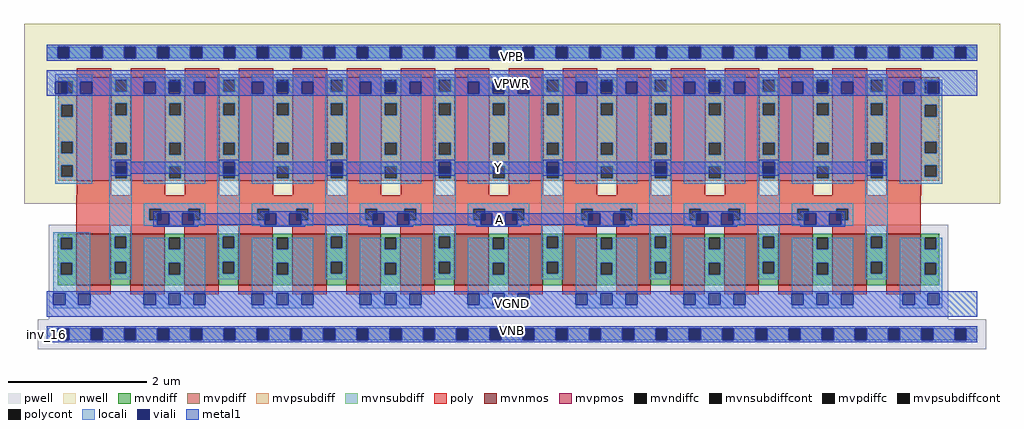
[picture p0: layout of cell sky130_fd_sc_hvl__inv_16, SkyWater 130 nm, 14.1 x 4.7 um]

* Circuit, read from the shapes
.subckt sky130_fd_sc_hvl__inv_16 A VGND VNB VPB VPWR Y
XM1 Y A VGND VNB sky130_fd_pr__nfet_g5v0d10v5 w=0.75 l=0.5 m=16
XM2 Y A VPWR VPB sky130_fd_pr__pfet_g5v0d10v5 w=1.5 l=0.5 m=16
.ends

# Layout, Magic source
magic
tech sky130B
magscale 1 2
<< nwell >>
rect -66 377 2754 897
<< pwell >>
rect 6 43 2605 317
rect -26 -43 2714 43
<< mvnmos >>
rect 85 141 185 291
rect 241 141 341 291
rect 397 141 497 291
rect 553 141 653 291
rect 709 141 809 291
rect 865 141 965 291
rect 1021 141 1121 291
rect 1177 141 1277 291
rect 1333 141 1433 291
rect 1489 141 1589 291
rect 1645 141 1745 291
rect 1801 141 1901 291
rect 1957 141 2057 291
rect 2113 141 2213 291
rect 2269 141 2369 291
rect 2425 141 2525 291
<< mvpmos >>
rect 86 443 186 743
rect 242 443 342 743
rect 398 443 498 743
rect 554 443 654 743
rect 710 443 810 743
rect 866 443 966 743
rect 1022 443 1122 743
rect 1178 443 1278 743
rect 1334 443 1434 743
rect 1490 443 1590 743
rect 1646 443 1746 743
rect 1802 443 1902 743
rect 1958 443 2058 743
rect 2114 443 2214 743
rect 2270 443 2370 743
rect 2426 443 2526 743
<< mvndiff >>
rect 32 279 85 291
rect 32 245 40 279
rect 74 245 85 279
rect 32 206 85 245
rect 32 172 40 206
rect 74 172 85 206
rect 32 141 85 172
rect 185 283 241 291
rect 185 249 196 283
rect 230 249 241 283
rect 185 209 241 249
rect 185 175 196 209
rect 230 175 241 209
rect 185 141 241 175
rect 341 279 397 291
rect 341 245 352 279
rect 386 245 397 279
rect 341 206 397 245
rect 341 172 352 206
rect 386 172 397 206
rect 341 141 397 172
rect 497 283 553 291
rect 497 249 508 283
rect 542 249 553 283
rect 497 209 553 249
rect 497 175 508 209
rect 542 175 553 209
rect 497 141 553 175
rect 653 279 709 291
rect 653 245 664 279
rect 698 245 709 279
rect 653 206 709 245
rect 653 172 664 206
rect 698 172 709 206
rect 653 141 709 172
rect 809 283 865 291
rect 809 249 820 283
rect 854 249 865 283
rect 809 209 865 249
rect 809 175 820 209
rect 854 175 865 209
rect 809 141 865 175
rect 965 279 1021 291
rect 965 245 976 279
rect 1010 245 1021 279
rect 965 206 1021 245
rect 965 172 976 206
rect 1010 172 1021 206
rect 965 141 1021 172
rect 1121 283 1177 291
rect 1121 249 1132 283
rect 1166 249 1177 283
rect 1121 209 1177 249
rect 1121 175 1132 209
rect 1166 175 1177 209
rect 1121 141 1177 175
rect 1277 279 1333 291
rect 1277 245 1288 279
rect 1322 245 1333 279
rect 1277 206 1333 245
rect 1277 172 1288 206
rect 1322 172 1333 206
rect 1277 141 1333 172
rect 1433 283 1489 291
rect 1433 249 1444 283
rect 1478 249 1489 283
rect 1433 209 1489 249
rect 1433 175 1444 209
rect 1478 175 1489 209
rect 1433 141 1489 175
rect 1589 279 1645 291
rect 1589 245 1600 279
rect 1634 245 1645 279
rect 1589 206 1645 245
rect 1589 172 1600 206
rect 1634 172 1645 206
rect 1589 141 1645 172
rect 1745 283 1801 291
rect 1745 249 1756 283
rect 1790 249 1801 283
rect 1745 209 1801 249
rect 1745 175 1756 209
rect 1790 175 1801 209
rect 1745 141 1801 175
rect 1901 279 1957 291
rect 1901 245 1912 279
rect 1946 245 1957 279
rect 1901 206 1957 245
rect 1901 172 1912 206
rect 1946 172 1957 206
rect 1901 141 1957 172
rect 2057 283 2113 291
rect 2057 249 2068 283
rect 2102 249 2113 283
rect 2057 209 2113 249
rect 2057 175 2068 209
rect 2102 175 2113 209
rect 2057 141 2113 175
rect 2213 279 2269 291
rect 2213 245 2224 279
rect 2258 245 2269 279
rect 2213 206 2269 245
rect 2213 172 2224 206
rect 2258 172 2269 206
rect 2213 141 2269 172
rect 2369 283 2425 291
rect 2369 249 2380 283
rect 2414 249 2425 283
rect 2369 209 2425 249
rect 2369 175 2380 209
rect 2414 175 2425 209
rect 2369 141 2425 175
rect 2525 279 2579 291
rect 2525 245 2536 279
rect 2570 245 2579 279
rect 2525 206 2579 245
rect 2525 172 2536 206
rect 2570 172 2579 206
rect 2525 141 2579 172
<< mvpdiff >>
rect 33 731 86 743
rect 33 697 41 731
rect 75 697 86 731
rect 33 663 86 697
rect 33 629 41 663
rect 75 629 86 663
rect 33 557 86 629
rect 33 523 41 557
rect 75 523 86 557
rect 33 489 86 523
rect 33 455 41 489
rect 75 455 86 489
rect 33 443 86 455
rect 186 735 242 743
rect 186 701 197 735
rect 231 701 242 735
rect 186 667 242 701
rect 186 633 197 667
rect 231 633 242 667
rect 186 553 242 633
rect 186 519 197 553
rect 231 519 242 553
rect 186 485 242 519
rect 186 451 197 485
rect 231 451 242 485
rect 186 443 242 451
rect 342 735 398 743
rect 342 701 353 735
rect 387 701 398 735
rect 342 667 398 701
rect 342 633 353 667
rect 387 633 398 667
rect 342 553 398 633
rect 342 519 353 553
rect 387 519 398 553
rect 342 485 398 519
rect 342 451 353 485
rect 387 451 398 485
rect 342 443 398 451
rect 498 735 554 743
rect 498 701 509 735
rect 543 701 554 735
rect 498 667 554 701
rect 498 633 509 667
rect 543 633 554 667
rect 498 553 554 633
rect 498 519 509 553
rect 543 519 554 553
rect 498 485 554 519
rect 498 451 509 485
rect 543 451 554 485
rect 498 443 554 451
rect 654 735 710 743
rect 654 701 665 735
rect 699 701 710 735
rect 654 667 710 701
rect 654 633 665 667
rect 699 633 710 667
rect 654 553 710 633
rect 654 519 665 553
rect 699 519 710 553
rect 654 485 710 519
rect 654 451 665 485
rect 699 451 710 485
rect 654 443 710 451
rect 810 735 866 743
rect 810 701 821 735
rect 855 701 866 735
rect 810 667 866 701
rect 810 633 821 667
rect 855 633 866 667
rect 810 553 866 633
rect 810 519 821 553
rect 855 519 866 553
rect 810 485 866 519
rect 810 451 821 485
rect 855 451 866 485
rect 810 443 866 451
rect 966 735 1022 743
rect 966 701 977 735
rect 1011 701 1022 735
rect 966 667 1022 701
rect 966 633 977 667
rect 1011 633 1022 667
rect 966 553 1022 633
rect 966 519 977 553
rect 1011 519 1022 553
rect 966 485 1022 519
rect 966 451 977 485
rect 1011 451 1022 485
rect 966 443 1022 451
rect 1122 735 1178 743
rect 1122 701 1133 735
rect 1167 701 1178 735
rect 1122 667 1178 701
rect 1122 633 1133 667
rect 1167 633 1178 667
rect 1122 553 1178 633
rect 1122 519 1133 553
rect 1167 519 1178 553
rect 1122 485 1178 519
rect 1122 451 1133 485
rect 1167 451 1178 485
rect 1122 443 1178 451
rect 1278 735 1334 743
rect 1278 701 1289 735
rect 1323 701 1334 735
rect 1278 667 1334 701
rect 1278 633 1289 667
rect 1323 633 1334 667
rect 1278 553 1334 633
rect 1278 519 1289 553
rect 1323 519 1334 553
rect 1278 485 1334 519
rect 1278 451 1289 485
rect 1323 451 1334 485
rect 1278 443 1334 451
rect 1434 735 1490 743
rect 1434 701 1445 735
rect 1479 701 1490 735
rect 1434 667 1490 701
rect 1434 633 1445 667
rect 1479 633 1490 667
rect 1434 553 1490 633
rect 1434 519 1445 553
rect 1479 519 1490 553
rect 1434 485 1490 519
rect 1434 451 1445 485
rect 1479 451 1490 485
rect 1434 443 1490 451
rect 1590 735 1646 743
rect 1590 701 1601 735
rect 1635 701 1646 735
rect 1590 667 1646 701
rect 1590 633 1601 667
rect 1635 633 1646 667
rect 1590 553 1646 633
rect 1590 519 1601 553
rect 1635 519 1646 553
rect 1590 485 1646 519
rect 1590 451 1601 485
rect 1635 451 1646 485
rect 1590 443 1646 451
rect 1746 735 1802 743
rect 1746 701 1757 735
rect 1791 701 1802 735
rect 1746 667 1802 701
rect 1746 633 1757 667
rect 1791 633 1802 667
rect 1746 553 1802 633
rect 1746 519 1757 553
rect 1791 519 1802 553
rect 1746 485 1802 519
rect 1746 451 1757 485
rect 1791 451 1802 485
rect 1746 443 1802 451
rect 1902 735 1958 743
rect 1902 701 1913 735
rect 1947 701 1958 735
rect 1902 667 1958 701
rect 1902 633 1913 667
rect 1947 633 1958 667
rect 1902 553 1958 633
rect 1902 519 1913 553
rect 1947 519 1958 553
rect 1902 485 1958 519
rect 1902 451 1913 485
rect 1947 451 1958 485
rect 1902 443 1958 451
rect 2058 735 2114 743
rect 2058 701 2069 735
rect 2103 701 2114 735
rect 2058 667 2114 701
rect 2058 633 2069 667
rect 2103 633 2114 667
rect 2058 553 2114 633
rect 2058 519 2069 553
rect 2103 519 2114 553
rect 2058 485 2114 519
rect 2058 451 2069 485
rect 2103 451 2114 485
rect 2058 443 2114 451
rect 2214 735 2270 743
rect 2214 701 2225 735
rect 2259 701 2270 735
rect 2214 667 2270 701
rect 2214 633 2225 667
rect 2259 633 2270 667
rect 2214 553 2270 633
rect 2214 519 2225 553
rect 2259 519 2270 553
rect 2214 485 2270 519
rect 2214 451 2225 485
rect 2259 451 2270 485
rect 2214 443 2270 451
rect 2370 735 2426 743
rect 2370 701 2381 735
rect 2415 701 2426 735
rect 2370 667 2426 701
rect 2370 633 2381 667
rect 2415 633 2426 667
rect 2370 553 2426 633
rect 2370 519 2381 553
rect 2415 519 2426 553
rect 2370 485 2426 519
rect 2370 451 2381 485
rect 2415 451 2426 485
rect 2370 443 2426 451
rect 2526 731 2579 743
rect 2526 697 2537 731
rect 2571 697 2579 731
rect 2526 663 2579 697
rect 2526 629 2537 663
rect 2571 629 2579 663
rect 2526 557 2579 629
rect 2526 523 2537 557
rect 2571 523 2579 557
rect 2526 489 2579 523
rect 2526 455 2537 489
rect 2571 455 2579 489
rect 2526 443 2579 455
<< mvndiffc >>
rect 40 245 74 279
rect 40 172 74 206
rect 196 249 230 283
rect 196 175 230 209
rect 352 245 386 279
rect 352 172 386 206
rect 508 249 542 283
rect 508 175 542 209
rect 664 245 698 279
rect 664 172 698 206
rect 820 249 854 283
rect 820 175 854 209
rect 976 245 1010 279
rect 976 172 1010 206
rect 1132 249 1166 283
rect 1132 175 1166 209
rect 1288 245 1322 279
rect 1288 172 1322 206
rect 1444 249 1478 283
rect 1444 175 1478 209
rect 1600 245 1634 279
rect 1600 172 1634 206
rect 1756 249 1790 283
rect 1756 175 1790 209
rect 1912 245 1946 279
rect 1912 172 1946 206
rect 2068 249 2102 283
rect 2068 175 2102 209
rect 2224 245 2258 279
rect 2224 172 2258 206
rect 2380 249 2414 283
rect 2380 175 2414 209
rect 2536 245 2570 279
rect 2536 172 2570 206
<< mvpdiffc >>
rect 41 697 75 731
rect 41 629 75 663
rect 41 523 75 557
rect 41 455 75 489
rect 197 701 231 735
rect 197 633 231 667
rect 197 519 231 553
rect 197 451 231 485
rect 353 701 387 735
rect 353 633 387 667
rect 353 519 387 553
rect 353 451 387 485
rect 509 701 543 735
rect 509 633 543 667
rect 509 519 543 553
rect 509 451 543 485
rect 665 701 699 735
rect 665 633 699 667
rect 665 519 699 553
rect 665 451 699 485
rect 821 701 855 735
rect 821 633 855 667
rect 821 519 855 553
rect 821 451 855 485
rect 977 701 1011 735
rect 977 633 1011 667
rect 977 519 1011 553
rect 977 451 1011 485
rect 1133 701 1167 735
rect 1133 633 1167 667
rect 1133 519 1167 553
rect 1133 451 1167 485
rect 1289 701 1323 735
rect 1289 633 1323 667
rect 1289 519 1323 553
rect 1289 451 1323 485
rect 1445 701 1479 735
rect 1445 633 1479 667
rect 1445 519 1479 553
rect 1445 451 1479 485
rect 1601 701 1635 735
rect 1601 633 1635 667
rect 1601 519 1635 553
rect 1601 451 1635 485
rect 1757 701 1791 735
rect 1757 633 1791 667
rect 1757 519 1791 553
rect 1757 451 1791 485
rect 1913 701 1947 735
rect 1913 633 1947 667
rect 1913 519 1947 553
rect 1913 451 1947 485
rect 2069 701 2103 735
rect 2069 633 2103 667
rect 2069 519 2103 553
rect 2069 451 2103 485
rect 2225 701 2259 735
rect 2225 633 2259 667
rect 2225 519 2259 553
rect 2225 451 2259 485
rect 2381 701 2415 735
rect 2381 633 2415 667
rect 2381 519 2415 553
rect 2381 451 2415 485
rect 2537 697 2571 731
rect 2537 629 2571 663
rect 2537 523 2571 557
rect 2537 455 2571 489
<< mvpsubdiff >>
rect 0 -17 31 17
rect 65 -17 127 17
rect 161 -17 223 17
rect 257 -17 319 17
rect 353 -17 415 17
rect 449 -17 511 17
rect 545 -17 607 17
rect 641 -17 703 17
rect 737 -17 799 17
rect 833 -17 895 17
rect 929 -17 991 17
rect 1025 -17 1087 17
rect 1121 -17 1183 17
rect 1217 -17 1279 17
rect 1313 -17 1375 17
rect 1409 -17 1471 17
rect 1505 -17 1567 17
rect 1601 -17 1663 17
rect 1697 -17 1759 17
rect 1793 -17 1855 17
rect 1889 -17 1951 17
rect 1985 -17 2047 17
rect 2081 -17 2143 17
rect 2177 -17 2239 17
rect 2273 -17 2335 17
rect 2369 -17 2431 17
rect 2465 -17 2527 17
rect 2561 -17 2623 17
rect 2657 -17 2688 17
<< mvnsubdiff >>
rect 0 797 31 831
rect 65 797 127 831
rect 161 797 223 831
rect 257 797 319 831
rect 353 797 415 831
rect 449 797 511 831
rect 545 797 607 831
rect 641 797 703 831
rect 737 797 799 831
rect 833 797 895 831
rect 929 797 991 831
rect 1025 797 1087 831
rect 1121 797 1183 831
rect 1217 797 1279 831
rect 1313 797 1375 831
rect 1409 797 1471 831
rect 1505 797 1567 831
rect 1601 797 1663 831
rect 1697 797 1759 831
rect 1793 797 1855 831
rect 1889 797 1951 831
rect 1985 797 2047 831
rect 2081 797 2143 831
rect 2177 797 2239 831
rect 2273 797 2335 831
rect 2369 797 2431 831
rect 2465 797 2527 831
rect 2561 797 2623 831
rect 2657 797 2688 831
<< mvpsubdiffcont >>
rect 31 -17 65 17
rect 127 -17 161 17
rect 223 -17 257 17
rect 319 -17 353 17
rect 415 -17 449 17
rect 511 -17 545 17
rect 607 -17 641 17
rect 703 -17 737 17
rect 799 -17 833 17
rect 895 -17 929 17
rect 991 -17 1025 17
rect 1087 -17 1121 17
rect 1183 -17 1217 17
rect 1279 -17 1313 17
rect 1375 -17 1409 17
rect 1471 -17 1505 17
rect 1567 -17 1601 17
rect 1663 -17 1697 17
rect 1759 -17 1793 17
rect 1855 -17 1889 17
rect 1951 -17 1985 17
rect 2047 -17 2081 17
rect 2143 -17 2177 17
rect 2239 -17 2273 17
rect 2335 -17 2369 17
rect 2431 -17 2465 17
rect 2527 -17 2561 17
rect 2623 -17 2657 17
<< mvnsubdiffcont >>
rect 31 797 65 831
rect 127 797 161 831
rect 223 797 257 831
rect 319 797 353 831
rect 415 797 449 831
rect 511 797 545 831
rect 607 797 641 831
rect 703 797 737 831
rect 799 797 833 831
rect 895 797 929 831
rect 991 797 1025 831
rect 1087 797 1121 831
rect 1183 797 1217 831
rect 1279 797 1313 831
rect 1375 797 1409 831
rect 1471 797 1505 831
rect 1567 797 1601 831
rect 1663 797 1697 831
rect 1759 797 1793 831
rect 1855 797 1889 831
rect 1951 797 1985 831
rect 2047 797 2081 831
rect 2143 797 2177 831
rect 2239 797 2273 831
rect 2335 797 2369 831
rect 2431 797 2465 831
rect 2527 797 2561 831
rect 2623 797 2657 831
<< poly >>
rect 86 743 186 769
rect 242 743 342 769
rect 398 743 498 769
rect 554 743 654 769
rect 710 743 810 769
rect 866 743 966 769
rect 1022 743 1122 769
rect 1178 743 1278 769
rect 1334 743 1434 769
rect 1490 743 1590 769
rect 1646 743 1746 769
rect 1802 743 1902 769
rect 1958 743 2058 769
rect 2114 743 2214 769
rect 2270 743 2370 769
rect 2426 743 2526 769
rect 86 401 186 443
rect 242 401 342 443
rect 398 401 498 443
rect 554 401 654 443
rect 710 401 810 443
rect 866 401 966 443
rect 1022 401 1122 443
rect 1178 401 1278 443
rect 1334 401 1434 443
rect 1490 401 1590 443
rect 1646 401 1746 443
rect 1802 401 1902 443
rect 1958 401 2058 443
rect 2114 401 2214 443
rect 2270 401 2370 443
rect 2426 401 2526 443
rect 85 400 2526 401
rect 85 363 2525 400
rect 85 329 296 363
rect 330 329 409 363
rect 443 329 608 363
rect 642 329 721 363
rect 755 329 920 363
rect 954 329 1033 363
rect 1067 329 1232 363
rect 1266 329 1345 363
rect 1379 329 1544 363
rect 1578 329 1657 363
rect 1691 329 1856 363
rect 1890 329 1969 363
rect 2003 329 2168 363
rect 2202 329 2281 363
rect 2315 329 2525 363
rect 85 313 2525 329
rect 85 291 185 313
rect 241 291 341 313
rect 397 291 497 313
rect 553 291 653 313
rect 709 291 809 313
rect 865 291 965 313
rect 1021 291 1121 313
rect 1177 291 1277 313
rect 1333 291 1433 313
rect 1489 291 1589 313
rect 1645 291 1745 313
rect 1801 291 1901 313
rect 1957 291 2057 313
rect 2113 291 2213 313
rect 2269 291 2369 313
rect 2425 291 2525 313
rect 85 115 185 141
rect 241 115 341 141
rect 397 115 497 141
rect 553 115 653 141
rect 709 115 809 141
rect 865 115 965 141
rect 1021 115 1121 141
rect 1177 115 1277 141
rect 1333 115 1433 141
rect 1489 115 1589 141
rect 1645 115 1745 141
rect 1801 115 1901 141
rect 1957 115 2057 141
rect 2113 115 2213 141
rect 2269 115 2369 141
rect 2425 115 2525 141
<< polycont >>
rect 296 329 330 363
rect 409 329 443 363
rect 608 329 642 363
rect 721 329 755 363
rect 920 329 954 363
rect 1033 329 1067 363
rect 1232 329 1266 363
rect 1345 329 1379 363
rect 1544 329 1578 363
rect 1657 329 1691 363
rect 1856 329 1890 363
rect 1969 329 2003 363
rect 2168 329 2202 363
rect 2281 329 2315 363
<< locali >>
rect 0 797 31 831
rect 65 797 127 831
rect 161 797 223 831
rect 257 797 319 831
rect 353 797 415 831
rect 449 797 511 831
rect 545 797 607 831
rect 641 797 703 831
rect 737 797 799 831
rect 833 797 895 831
rect 929 797 991 831
rect 1025 797 1087 831
rect 1121 797 1183 831
rect 1217 797 1279 831
rect 1313 797 1375 831
rect 1409 797 1471 831
rect 1505 797 1567 831
rect 1601 797 1663 831
rect 1697 797 1759 831
rect 1793 797 1855 831
rect 1889 797 1951 831
rect 1985 797 2047 831
rect 2081 797 2143 831
rect 2177 797 2239 831
rect 2273 797 2335 831
rect 2369 797 2431 831
rect 2465 797 2527 831
rect 2561 797 2623 831
rect 2657 797 2688 831
rect 25 731 131 751
rect 25 729 41 731
rect 75 729 131 731
rect 75 697 97 729
rect 59 695 97 697
rect 25 663 131 695
rect 25 629 41 663
rect 75 629 131 663
rect 25 557 131 629
rect 25 523 41 557
rect 75 523 131 557
rect 25 489 131 523
rect 25 455 41 489
rect 75 455 131 489
rect 25 435 131 455
rect 180 735 246 751
rect 180 701 197 735
rect 231 701 246 735
rect 180 667 246 701
rect 180 633 197 667
rect 231 633 246 667
rect 180 553 246 633
rect 180 519 197 553
rect 231 519 246 553
rect 180 498 246 519
rect 180 451 197 498
rect 231 451 246 498
rect 19 279 126 295
rect 19 245 40 279
rect 74 245 126 279
rect 19 206 126 245
rect 19 172 40 206
rect 74 172 126 206
rect 19 119 126 172
rect 180 283 246 451
rect 280 735 458 751
rect 280 729 353 735
rect 387 729 458 735
rect 314 695 352 729
rect 387 701 424 729
rect 386 695 424 701
rect 280 667 458 695
rect 280 633 353 667
rect 387 633 458 667
rect 280 553 458 633
rect 280 519 353 553
rect 387 519 458 553
rect 280 485 458 519
rect 280 451 353 485
rect 387 451 458 485
rect 280 435 458 451
rect 492 735 558 751
rect 492 701 509 735
rect 543 701 558 735
rect 492 667 558 701
rect 492 633 509 667
rect 543 633 558 667
rect 492 553 558 633
rect 492 519 509 553
rect 543 519 558 553
rect 492 498 558 519
rect 492 451 509 498
rect 543 451 558 498
rect 280 363 458 379
rect 280 329 296 363
rect 330 350 409 363
rect 280 316 319 329
rect 353 316 391 350
rect 443 329 458 363
rect 425 316 458 329
rect 280 313 458 316
rect 180 249 196 283
rect 230 249 246 283
rect 492 283 558 451
rect 592 735 770 751
rect 592 729 665 735
rect 699 729 770 735
rect 626 695 664 729
rect 699 701 736 729
rect 698 695 736 701
rect 592 667 770 695
rect 592 633 665 667
rect 699 633 770 667
rect 592 553 770 633
rect 592 519 665 553
rect 699 519 770 553
rect 592 485 770 519
rect 592 451 665 485
rect 699 451 770 485
rect 592 435 770 451
rect 804 735 870 751
rect 804 701 821 735
rect 855 701 870 735
rect 804 667 870 701
rect 804 633 821 667
rect 855 633 870 667
rect 804 553 870 633
rect 804 519 821 553
rect 855 519 870 553
rect 804 498 870 519
rect 804 451 821 498
rect 855 451 870 498
rect 592 363 770 379
rect 592 329 608 363
rect 642 350 721 363
rect 592 316 629 329
rect 663 316 701 350
rect 755 329 770 363
rect 735 316 770 329
rect 592 313 770 316
rect 180 209 246 249
rect 180 175 196 209
rect 230 175 246 209
rect 180 159 246 175
rect 280 245 352 279
rect 386 245 458 279
rect 280 206 458 245
rect 280 172 352 206
rect 386 172 458 206
rect 53 85 91 119
rect 125 85 126 119
rect 19 75 126 85
rect 280 119 458 172
rect 492 249 508 283
rect 542 249 558 283
rect 804 283 870 451
rect 904 735 1082 751
rect 904 729 977 735
rect 1011 729 1082 735
rect 938 695 976 729
rect 1011 701 1048 729
rect 1010 695 1048 701
rect 904 667 1082 695
rect 904 633 977 667
rect 1011 633 1082 667
rect 904 553 1082 633
rect 904 519 977 553
rect 1011 519 1082 553
rect 904 485 1082 519
rect 904 451 977 485
rect 1011 451 1082 485
rect 904 435 1082 451
rect 1116 735 1182 751
rect 1116 701 1133 735
rect 1167 701 1182 735
rect 1116 667 1182 701
rect 1116 633 1133 667
rect 1167 633 1182 667
rect 1116 553 1182 633
rect 1116 519 1133 553
rect 1167 519 1182 553
rect 1116 498 1182 519
rect 1116 451 1133 498
rect 1167 451 1182 498
rect 904 363 1082 379
rect 904 329 920 363
rect 954 350 1033 363
rect 904 316 941 329
rect 975 316 1013 350
rect 1067 329 1082 363
rect 1047 316 1082 329
rect 904 313 1082 316
rect 492 209 558 249
rect 492 175 508 209
rect 542 175 558 209
rect 492 159 558 175
rect 592 245 664 279
rect 698 245 770 279
rect 592 206 770 245
rect 592 172 664 206
rect 698 172 770 206
rect 314 85 352 119
rect 386 85 424 119
rect 280 75 458 85
rect 592 119 770 172
rect 804 249 820 283
rect 854 249 870 283
rect 1116 283 1182 451
rect 1216 735 1394 751
rect 1216 729 1289 735
rect 1323 729 1394 735
rect 1250 695 1288 729
rect 1323 701 1360 729
rect 1322 695 1360 701
rect 1216 667 1394 695
rect 1216 633 1289 667
rect 1323 633 1394 667
rect 1216 553 1394 633
rect 1216 519 1289 553
rect 1323 519 1394 553
rect 1216 485 1394 519
rect 1216 451 1289 485
rect 1323 451 1394 485
rect 1216 435 1394 451
rect 1428 735 1494 751
rect 1428 701 1445 735
rect 1479 701 1494 735
rect 1428 667 1494 701
rect 1428 633 1445 667
rect 1479 633 1494 667
rect 1428 553 1494 633
rect 1428 519 1445 553
rect 1479 519 1494 553
rect 1428 498 1494 519
rect 1428 451 1445 498
rect 1479 451 1494 498
rect 1216 363 1394 379
rect 1216 329 1232 363
rect 1266 350 1345 363
rect 1216 316 1253 329
rect 1287 316 1325 350
rect 1379 329 1394 363
rect 1359 316 1394 329
rect 1216 313 1394 316
rect 804 209 870 249
rect 804 175 820 209
rect 854 175 870 209
rect 804 159 870 175
rect 904 245 976 279
rect 1010 245 1082 279
rect 904 206 1082 245
rect 904 172 976 206
rect 1010 172 1082 206
rect 626 85 664 119
rect 698 85 736 119
rect 592 75 770 85
rect 904 119 1082 172
rect 1116 249 1132 283
rect 1166 249 1182 283
rect 1428 283 1494 451
rect 1528 735 1706 751
rect 1528 729 1601 735
rect 1635 729 1706 735
rect 1562 695 1600 729
rect 1635 701 1672 729
rect 1634 695 1672 701
rect 1528 667 1706 695
rect 1528 633 1601 667
rect 1635 633 1706 667
rect 1528 553 1706 633
rect 1528 519 1601 553
rect 1635 519 1706 553
rect 1528 485 1706 519
rect 1528 451 1601 485
rect 1635 451 1706 485
rect 1528 435 1706 451
rect 1740 735 1806 751
rect 1740 701 1757 735
rect 1791 701 1806 735
rect 1740 667 1806 701
rect 1740 633 1757 667
rect 1791 633 1806 667
rect 1740 553 1806 633
rect 1740 519 1757 553
rect 1791 519 1806 553
rect 1740 498 1806 519
rect 1740 451 1757 498
rect 1791 451 1806 498
rect 1528 363 1706 379
rect 1528 329 1544 363
rect 1578 350 1657 363
rect 1528 316 1565 329
rect 1599 316 1637 350
rect 1691 329 1706 363
rect 1671 316 1706 329
rect 1528 313 1706 316
rect 1116 209 1182 249
rect 1116 175 1132 209
rect 1166 175 1182 209
rect 1116 159 1182 175
rect 1216 245 1288 279
rect 1322 245 1394 279
rect 1216 206 1394 245
rect 1216 172 1288 206
rect 1322 172 1394 206
rect 938 85 976 119
rect 1010 85 1048 119
rect 904 75 1082 85
rect 1216 119 1394 172
rect 1428 249 1444 283
rect 1478 249 1494 283
rect 1740 283 1806 451
rect 1840 735 2018 751
rect 1840 729 1913 735
rect 1947 729 2018 735
rect 1874 695 1912 729
rect 1947 701 1984 729
rect 1946 695 1984 701
rect 1840 667 2018 695
rect 1840 633 1913 667
rect 1947 633 2018 667
rect 1840 553 2018 633
rect 1840 519 1913 553
rect 1947 519 2018 553
rect 1840 485 2018 519
rect 1840 451 1913 485
rect 1947 451 2018 485
rect 1840 435 2018 451
rect 2052 735 2118 751
rect 2052 701 2069 735
rect 2103 701 2118 735
rect 2052 667 2118 701
rect 2052 633 2069 667
rect 2103 633 2118 667
rect 2052 553 2118 633
rect 2052 519 2069 553
rect 2103 519 2118 553
rect 2052 498 2118 519
rect 2052 451 2069 498
rect 2103 451 2118 498
rect 1840 363 2018 379
rect 1840 329 1856 363
rect 1890 350 1969 363
rect 1840 316 1877 329
rect 1911 316 1949 350
rect 2003 329 2018 363
rect 1983 316 2018 329
rect 1840 313 2018 316
rect 1428 209 1494 249
rect 1428 175 1444 209
rect 1478 175 1494 209
rect 1428 159 1494 175
rect 1528 245 1600 279
rect 1634 245 1706 279
rect 1528 206 1706 245
rect 1528 172 1600 206
rect 1634 172 1706 206
rect 1250 85 1288 119
rect 1322 85 1360 119
rect 1216 75 1394 85
rect 1528 119 1706 172
rect 1740 249 1756 283
rect 1790 249 1806 283
rect 2052 283 2118 451
rect 2152 735 2330 751
rect 2152 729 2225 735
rect 2259 729 2330 735
rect 2186 695 2224 729
rect 2259 701 2296 729
rect 2258 695 2296 701
rect 2152 667 2330 695
rect 2152 633 2225 667
rect 2259 633 2330 667
rect 2152 553 2330 633
rect 2152 519 2225 553
rect 2259 519 2330 553
rect 2152 485 2330 519
rect 2152 451 2225 485
rect 2259 451 2330 485
rect 2152 435 2330 451
rect 2364 735 2430 751
rect 2364 701 2381 735
rect 2415 701 2430 735
rect 2364 667 2430 701
rect 2364 633 2381 667
rect 2415 633 2430 667
rect 2364 553 2430 633
rect 2364 519 2381 553
rect 2415 519 2430 553
rect 2364 498 2430 519
rect 2364 451 2381 498
rect 2415 451 2430 498
rect 2152 363 2330 379
rect 2152 329 2168 363
rect 2202 350 2281 363
rect 2152 316 2189 329
rect 2223 316 2261 350
rect 2315 329 2330 363
rect 2295 316 2330 329
rect 2152 313 2330 316
rect 1740 209 1806 249
rect 1740 175 1756 209
rect 1790 175 1806 209
rect 1740 159 1806 175
rect 1840 245 1912 279
rect 1946 245 2018 279
rect 1840 206 2018 245
rect 1840 172 1912 206
rect 1946 172 2018 206
rect 1562 85 1600 119
rect 1634 85 1672 119
rect 1528 75 1706 85
rect 1840 119 2018 172
rect 2052 249 2068 283
rect 2102 249 2118 283
rect 2364 283 2430 451
rect 2464 731 2587 735
rect 2464 729 2537 731
rect 2571 729 2587 731
rect 2464 695 2473 729
rect 2507 697 2537 729
rect 2507 695 2545 697
rect 2579 695 2587 729
rect 2464 663 2587 695
rect 2464 629 2537 663
rect 2571 629 2587 663
rect 2464 557 2587 629
rect 2464 523 2537 557
rect 2571 523 2587 557
rect 2464 489 2587 523
rect 2464 455 2537 489
rect 2571 455 2587 489
rect 2464 435 2587 455
rect 2052 209 2118 249
rect 2052 175 2068 209
rect 2102 175 2118 209
rect 2052 159 2118 175
rect 2152 245 2224 279
rect 2258 245 2330 279
rect 2152 206 2330 245
rect 2152 172 2224 206
rect 2258 172 2330 206
rect 1874 85 1912 119
rect 1946 85 1984 119
rect 1840 75 2018 85
rect 2152 119 2330 172
rect 2364 249 2380 283
rect 2414 249 2430 283
rect 2364 209 2430 249
rect 2364 175 2380 209
rect 2414 175 2430 209
rect 2364 159 2430 175
rect 2464 245 2536 279
rect 2570 245 2587 279
rect 2464 206 2587 245
rect 2464 172 2536 206
rect 2570 172 2587 206
rect 2186 85 2224 119
rect 2258 85 2296 119
rect 2152 75 2330 85
rect 2464 119 2587 172
rect 2464 85 2473 119
rect 2507 85 2545 119
rect 2579 85 2587 119
rect 2464 75 2587 85
rect 0 -17 31 17
rect 65 -17 127 17
rect 161 -17 223 17
rect 257 -17 319 17
rect 353 -17 415 17
rect 449 -17 511 17
rect 545 -17 607 17
rect 641 -17 703 17
rect 737 -17 799 17
rect 833 -17 895 17
rect 929 -17 991 17
rect 1025 -17 1087 17
rect 1121 -17 1183 17
rect 1217 -17 1279 17
rect 1313 -17 1375 17
rect 1409 -17 1471 17
rect 1505 -17 1567 17
rect 1601 -17 1663 17
rect 1697 -17 1759 17
rect 1793 -17 1855 17
rect 1889 -17 1951 17
rect 1985 -17 2047 17
rect 2081 -17 2143 17
rect 2177 -17 2239 17
rect 2273 -17 2335 17
rect 2369 -17 2431 17
rect 2465 -17 2527 17
rect 2561 -17 2623 17
rect 2657 -17 2688 17
<< viali >>
rect 31 797 65 831
rect 127 797 161 831
rect 223 797 257 831
rect 319 797 353 831
rect 415 797 449 831
rect 511 797 545 831
rect 607 797 641 831
rect 703 797 737 831
rect 799 797 833 831
rect 895 797 929 831
rect 991 797 1025 831
rect 1087 797 1121 831
rect 1183 797 1217 831
rect 1279 797 1313 831
rect 1375 797 1409 831
rect 1471 797 1505 831
rect 1567 797 1601 831
rect 1663 797 1697 831
rect 1759 797 1793 831
rect 1855 797 1889 831
rect 1951 797 1985 831
rect 2047 797 2081 831
rect 2143 797 2177 831
rect 2239 797 2273 831
rect 2335 797 2369 831
rect 2431 797 2465 831
rect 2527 797 2561 831
rect 2623 797 2657 831
rect 25 697 41 729
rect 41 697 59 729
rect 25 695 59 697
rect 97 695 131 729
rect 197 485 231 498
rect 197 464 231 485
rect 280 695 314 729
rect 352 701 353 729
rect 353 701 386 729
rect 352 695 386 701
rect 424 695 458 729
rect 509 485 543 498
rect 509 464 543 485
rect 319 329 330 350
rect 330 329 353 350
rect 319 316 353 329
rect 391 329 409 350
rect 409 329 425 350
rect 391 316 425 329
rect 592 695 626 729
rect 664 701 665 729
rect 665 701 698 729
rect 664 695 698 701
rect 736 695 770 729
rect 821 485 855 498
rect 821 464 855 485
rect 629 329 642 350
rect 642 329 663 350
rect 629 316 663 329
rect 701 329 721 350
rect 721 329 735 350
rect 701 316 735 329
rect 19 85 53 119
rect 91 85 125 119
rect 904 695 938 729
rect 976 701 977 729
rect 977 701 1010 729
rect 976 695 1010 701
rect 1048 695 1082 729
rect 1133 485 1167 498
rect 1133 464 1167 485
rect 941 329 954 350
rect 954 329 975 350
rect 941 316 975 329
rect 1013 329 1033 350
rect 1033 329 1047 350
rect 1013 316 1047 329
rect 280 85 314 119
rect 352 85 386 119
rect 424 85 458 119
rect 1216 695 1250 729
rect 1288 701 1289 729
rect 1289 701 1322 729
rect 1288 695 1322 701
rect 1360 695 1394 729
rect 1445 485 1479 498
rect 1445 464 1479 485
rect 1253 329 1266 350
rect 1266 329 1287 350
rect 1253 316 1287 329
rect 1325 329 1345 350
rect 1345 329 1359 350
rect 1325 316 1359 329
rect 592 85 626 119
rect 664 85 698 119
rect 736 85 770 119
rect 1528 695 1562 729
rect 1600 701 1601 729
rect 1601 701 1634 729
rect 1600 695 1634 701
rect 1672 695 1706 729
rect 1757 485 1791 498
rect 1757 464 1791 485
rect 1565 329 1578 350
rect 1578 329 1599 350
rect 1565 316 1599 329
rect 1637 329 1657 350
rect 1657 329 1671 350
rect 1637 316 1671 329
rect 904 85 938 119
rect 976 85 1010 119
rect 1048 85 1082 119
rect 1840 695 1874 729
rect 1912 701 1913 729
rect 1913 701 1946 729
rect 1912 695 1946 701
rect 1984 695 2018 729
rect 2069 485 2103 498
rect 2069 464 2103 485
rect 1877 329 1890 350
rect 1890 329 1911 350
rect 1877 316 1911 329
rect 1949 329 1969 350
rect 1969 329 1983 350
rect 1949 316 1983 329
rect 1216 85 1250 119
rect 1288 85 1322 119
rect 1360 85 1394 119
rect 2152 695 2186 729
rect 2224 701 2225 729
rect 2225 701 2258 729
rect 2224 695 2258 701
rect 2296 695 2330 729
rect 2381 485 2415 498
rect 2381 464 2415 485
rect 2189 329 2202 350
rect 2202 329 2223 350
rect 2189 316 2223 329
rect 2261 329 2281 350
rect 2281 329 2295 350
rect 2261 316 2295 329
rect 1528 85 1562 119
rect 1600 85 1634 119
rect 1672 85 1706 119
rect 2473 695 2507 729
rect 2545 697 2571 729
rect 2571 697 2579 729
rect 2545 695 2579 697
rect 1840 85 1874 119
rect 1912 85 1946 119
rect 1984 85 2018 119
rect 2152 85 2186 119
rect 2224 85 2258 119
rect 2296 85 2330 119
rect 2473 85 2507 119
rect 2545 85 2579 119
rect 31 -17 65 17
rect 127 -17 161 17
rect 223 -17 257 17
rect 319 -17 353 17
rect 415 -17 449 17
rect 511 -17 545 17
rect 607 -17 641 17
rect 703 -17 737 17
rect 799 -17 833 17
rect 895 -17 929 17
rect 991 -17 1025 17
rect 1087 -17 1121 17
rect 1183 -17 1217 17
rect 1279 -17 1313 17
rect 1375 -17 1409 17
rect 1471 -17 1505 17
rect 1567 -17 1601 17
rect 1663 -17 1697 17
rect 1759 -17 1793 17
rect 1855 -17 1889 17
rect 1951 -17 1985 17
rect 2047 -17 2081 17
rect 2143 -17 2177 17
rect 2239 -17 2273 17
rect 2335 -17 2369 17
rect 2431 -17 2465 17
rect 2527 -17 2561 17
rect 2623 -17 2657 17
<< metal1 >>
rect 0 831 2688 837
rect 0 797 31 831
rect 65 797 127 831
rect 161 797 223 831
rect 257 797 319 831
rect 353 797 415 831
rect 449 797 511 831
rect 545 797 607 831
rect 641 797 703 831
rect 737 797 799 831
rect 833 797 895 831
rect 929 797 991 831
rect 1025 797 1087 831
rect 1121 797 1183 831
rect 1217 797 1279 831
rect 1313 797 1375 831
rect 1409 797 1471 831
rect 1505 797 1567 831
rect 1601 797 1663 831
rect 1697 797 1759 831
rect 1793 797 1855 831
rect 1889 797 1951 831
rect 1985 797 2047 831
rect 2081 797 2143 831
rect 2177 797 2239 831
rect 2273 797 2335 831
rect 2369 797 2431 831
rect 2465 797 2527 831
rect 2561 797 2623 831
rect 2657 797 2688 831
rect 0 791 2688 797
rect 0 729 2688 763
rect 0 695 25 729
rect 59 695 97 729
rect 131 695 280 729
rect 314 695 352 729
rect 386 695 424 729
rect 458 695 592 729
rect 626 695 664 729
rect 698 695 736 729
rect 770 695 904 729
rect 938 695 976 729
rect 1010 695 1048 729
rect 1082 695 1216 729
rect 1250 695 1288 729
rect 1322 695 1360 729
rect 1394 695 1528 729
rect 1562 695 1600 729
rect 1634 695 1672 729
rect 1706 695 1840 729
rect 1874 695 1912 729
rect 1946 695 1984 729
rect 2018 695 2152 729
rect 2186 695 2224 729
rect 2258 695 2296 729
rect 2330 695 2473 729
rect 2507 695 2545 729
rect 2579 695 2688 729
rect 0 689 2688 695
rect 185 498 243 504
rect 497 498 555 504
rect 809 498 867 504
rect 1121 498 1179 504
rect 1433 498 1491 504
rect 1745 498 1803 504
rect 2057 498 2115 504
rect 2369 498 2427 504
rect 185 464 197 498
rect 231 464 509 498
rect 543 464 821 498
rect 855 464 1133 498
rect 1167 464 1445 498
rect 1479 464 1757 498
rect 1791 464 2069 498
rect 2103 464 2381 498
rect 2415 464 2427 498
rect 185 458 243 464
rect 497 458 555 464
rect 809 458 867 464
rect 1121 458 1179 464
rect 1433 458 1491 464
rect 1745 458 1803 464
rect 2057 458 2115 464
rect 2369 458 2427 464
rect 307 350 437 356
rect 617 350 747 356
rect 929 350 1059 356
rect 1241 350 1371 356
rect 1553 350 1683 356
rect 1865 350 1995 356
rect 2177 350 2307 356
rect 307 316 319 350
rect 353 316 391 350
rect 425 316 629 350
rect 663 316 701 350
rect 735 316 941 350
rect 975 316 1013 350
rect 1047 316 1253 350
rect 1287 316 1325 350
rect 1359 316 1565 350
rect 1599 316 1637 350
rect 1671 316 1877 350
rect 1911 316 1949 350
rect 1983 316 2189 350
rect 2223 316 2261 350
rect 2295 316 2307 350
rect 307 310 437 316
rect 617 310 747 316
rect 929 310 1059 316
rect 1241 310 1371 316
rect 1553 310 1683 316
rect 1865 310 1995 316
rect 2177 310 2307 316
rect 0 119 2688 125
rect 0 85 19 119
rect 53 85 91 119
rect 125 85 280 119
rect 314 85 352 119
rect 386 85 424 119
rect 458 85 592 119
rect 626 85 664 119
rect 698 85 736 119
rect 770 85 904 119
rect 938 85 976 119
rect 1010 85 1048 119
rect 1082 85 1216 119
rect 1250 85 1288 119
rect 1322 85 1360 119
rect 1394 85 1528 119
rect 1562 85 1600 119
rect 1634 85 1672 119
rect 1706 85 1840 119
rect 1874 85 1912 119
rect 1946 85 1984 119
rect 2018 85 2152 119
rect 2186 85 2224 119
rect 2258 85 2296 119
rect 2330 85 2473 119
rect 2507 85 2545 119
rect 2579 85 2688 119
rect 0 51 2688 85
rect 0 17 2688 23
rect 0 -17 31 17
rect 65 -17 127 17
rect 161 -17 223 17
rect 257 -17 319 17
rect 353 -17 415 17
rect 449 -17 511 17
rect 545 -17 607 17
rect 641 -17 703 17
rect 737 -17 799 17
rect 833 -17 895 17
rect 929 -17 991 17
rect 1025 -17 1087 17
rect 1121 -17 1183 17
rect 1217 -17 1279 17
rect 1313 -17 1375 17
rect 1409 -17 1471 17
rect 1505 -17 1567 17
rect 1601 -17 1663 17
rect 1697 -17 1759 17
rect 1793 -17 1855 17
rect 1889 -17 1951 17
rect 1985 -17 2047 17
rect 2081 -17 2143 17
rect 2177 -17 2239 17
rect 2273 -17 2335 17
rect 2369 -17 2431 17
rect 2465 -17 2527 17
rect 2561 -17 2623 17
rect 2657 -17 2688 17
rect 0 -23 2688 -17
<< labels >>
rlabel comment s 0 0 0 0 4 inv_16
flabel metal1 s 185 464 2427 498 0 FreeSans 340 0 0 0 Y
port 6 nsew signal output
flabel metal1 s 307 316 2307 350 0 FreeSans 340 0 0 0 A
port 1 nsew signal input
flabel metal1 s 0 0 2688 23 0 FreeSans 340 0 0 0 VNB
port 3 nsew ground bidirectional
flabel metal1 s 0 689 2688 763 0 FreeSans 340 0 0 0 VPWR
port 5 nsew power bidirectional
flabel metal1 s 0 791 2688 814 0 FreeSans 340 0 0 0 VPB
port 4 nsew power bidirectional
flabel metal1 s 1344 802 1344 802 0 FreeSans 340 0 0 0 VPB
flabel metal1 s 0 51 2688 125 0 FreeSans 340 0 0 0 VGND
port 2 nsew ground bidirectional
flabel metal1 s 1344 11 1344 11 0 FreeSans 340 0 0 0 VNB
<< properties >>
string FIXED_BBOX 0 0 2688 814
string GDS_END 42530
string GDS_FILE $PDKPATH/libs.ref/sky130_fd_sc_hvl/gds/sky130_fd_sc_hvl.gds
string GDS_START 12890
string LEFclass CORE
string LEFsite unithv
string LEFsymmetry X Y
<< end >>
